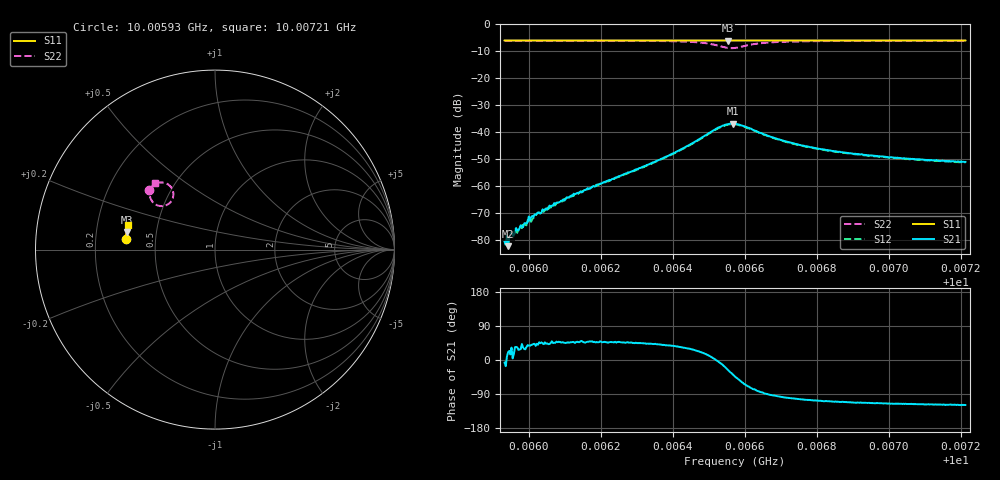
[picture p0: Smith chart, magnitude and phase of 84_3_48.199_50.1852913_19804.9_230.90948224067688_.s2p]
#  HZ  S  RI  R  50.00
! Rohde & Schwarz Vector Network Analyzer
! Rohde-Schwarz,ZNB20-2Port,1311601062101988,3.16
! Created: UTC 3/20/2024, 11:39:49 AM
! freq[Hz]  re:S11  im:S11  re:S21  im:S21  re:S12  im:S12  re:S22  im:S22
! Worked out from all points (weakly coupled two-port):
!   401 points, 10.00593 GHz to 10.00721 GHz, reference 50 ohm
!   highest |S21| = -36.86 dB at 10.00657 GHz (marker M1); lowest = -82.4 dB at 10.00594 GHz (marker M2)
!   lowest |S11| = -6.0 dB at 10.00655 GHz (marker M3), VSWR 3.01, Z = 16.8 + j4.37 ohm
!   |S11| at or under -10 dB: nowhere
!   |S22| runs from -8.8 to -6.0 dB; largest |S21 - S12| = 0.00097
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1.0005933e10  -0.4981 0.0581  9.09e-05 -1.1e-05  9.52e-05 1.32e-05  -0.3701 0.3339
1.0005943e10  -0.4981 0.0587  7.12e-05 2.61e-05  8.6e-05 1.78e-05  -0.3695 0.3344
1.0005949e10  -0.498 0.0592  0.000119 3.1e-05  0.00011 3.7e-05  -0.369 0.3348
1.0005965e10  -0.4979 0.0602  0.000136 9.27e-05  0.000133 7.31e-05  -0.3682 0.3358
1.000601e10  -0.4976 0.0632  0.00021 0.000179  0.000153 0.000189  -0.3655 0.3388
1.0006023e10  -0.4975 0.0639  0.000224 0.000209  0.000196 0.000234  -0.3647 0.3395
1.0006083e10  -0.4969 0.0679  0.000329 0.000367  0.000317 0.000382  -0.3606 0.344
1.0006147e10  -0.4966 0.0721  0.000485 0.000582  0.000491 0.000614  -0.3557 0.3488
1.0006362e10  -0.4947 0.0862  0.00228 0.002  0.00216 0.00206  -0.3268 0.3684
1.0006432e10  -0.4938 0.0908  0.00433 0.00273  0.00408 0.00288  -0.3026 0.3742
1.0006486e10  -0.493 0.0943  0.00795 0.00255  0.00761 0.00279  -0.2666 0.3663
1.0006525e10  -0.4921 0.0964  0.012 -0.000637  0.0115 -2.64e-05  -0.2353 0.3296
1.0006554e10  -0.4915 0.0977  0.0125 -0.00621  0.0127 -0.00545  -0.2397 0.2762
1.0006566e10  -0.4916 0.0982  0.0114 -0.00878  0.0114 -0.00802  -0.2572 0.2558
1.0006573e10  -0.4916 0.0985  0.0103 -0.00984  0.0106 -0.00908  -0.2683 0.249
1.0006595e10  -0.4917 0.0996  0.0064 -0.0113  0.00675 -0.0109  -0.3084 0.2431
1.0006643e10  -0.4917 0.1029  0.000987 -0.00962  0.00147 -0.00947  -0.3536 0.274
1.0006714e10  -0.4911 0.1075  -0.00108 -0.00662  -0.000733 -0.00654  -0.3632 0.3106
1.0006787e10  -0.4903 0.1124  -0.00145 -0.00498  -0.00119 -0.00494  -0.3596 0.3306
1.0006896e10  -0.489 0.1194  -0.00149 -0.00372  -0.00129 -0.0037  -0.3522 0.3474
1.0007001e10  -0.4875 0.126  -0.00141 -0.00309  -0.00125 -0.0031  -0.3453 0.3579
1.0007213e10  -0.4844 0.1394  -0.00134 -0.00245  -0.0012 -0.00244  -0.3329 0.3732
